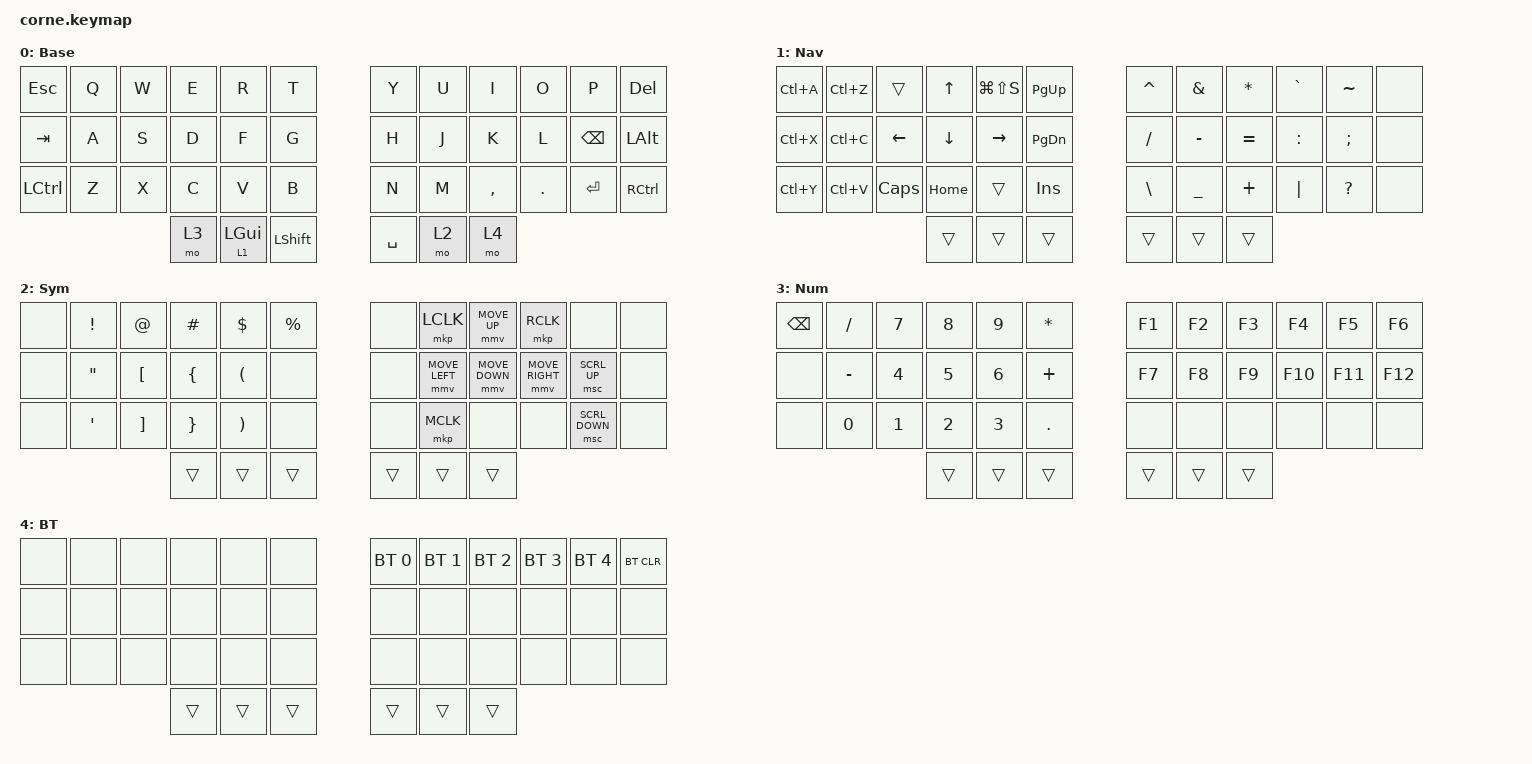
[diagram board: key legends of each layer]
/*
 * Copyright (c) 2020 The ZMK Contributors
 *
 * SPDX-License-Identifier: MIT
 */

#include <behaviors.dtsi>
#include <dt-bindings/zmk/keys.h>
#include <dt-bindings/zmk/bt.h>
#include <dt-bindings/zmk/pointing.h>

/ {
    keymap {
        compatible = "zmk,keymap";

        default_layer {
// -----------------------------------------------------------------------------------------
// | ESC  |  Q  |  W  |  E  |  R  |  T  |   |  Y  |  U  |  I  |  O  | P    | DEL  |
// | TAB  |  A  |  S  |  D  |  F  |  G  |   |  H  |  J  |  K  |  L  | BSPC | ALT  |
// | CTRL |  Z  |  X  |  C  |  V  |  B  |   |  N  |  M  |  ,  |  .  | RET  | CTRL |
//                    | L3 | L1/GUI | SHFT |   | SPC | L2 | L4 |
            display-name = "Base";
            bindings = <
   &kp ESC   &kp Q &kp W &kp E &kp R &kp T          &kp Y     &kp U &kp I     &kp O   &kp P    &kp DEL
   &kp TAB   &kp A &kp S &kp D &kp F &kp G          &kp H     &kp J &kp K     &kp L   &kp BSPC &kp LALT
   &kp LCTRL &kp Z &kp X &kp C &kp V &kp B          &kp N     &kp M &kp COMMA &kp DOT &kp RET  &kp RCTRL
                   &mo 3 &lt 1 LGUI &kp LSHFT       &kp SPACE &mo 2 &mo 4
            >;
        };

        nav_layer {
// | SEL ALL | UNDO |      |  UP  | SNIP | PGUP |   |  ^  |  &  |  *  |  `  |  ~  |     |
// | CUT     | COPY | LEFT | DOWN | RGHT | PGDN |   |  /  |  -  |  =  |  :  |  ;  |     |
// | REDO    | PSTE | CAPS | HOME |      | INS  |   |  \  |  _  |  +  | "|" |  ?  |     |
            display-name = "Nav";
            bindings = <
   &kp LC(A) &kp LC(Z) &trans         &kp UP_ARROW &kp LG(LS(S)) &kp PG_UP    &kp CARET &kp AMPS  &kp ASTRK &kp GRAVE &kp TILDE &none
   &kp LC(X) &kp LC(C) &kp LEFT_ARROW &kp DOWN     &kp RIGHT     &kp PG_DN    &kp FSLH  &kp MINUS &kp EQUAL &kp COLON &kp SEMI  &none
   &kp LC(Y) &kp LC(V) &kp CAPS       &kp HOME     &trans        &kp INS      &kp BSLH  &kp UNDER &kp PLUS  &kp PIPE  &kp QMARK &none
                                      &trans       &trans        &trans       &trans    &trans    &trans
            >;
        };

        sym_layer {
// |   |  !  |  @  |  #  |  $  |  %  |   |      | LCLK |  UP  | RCLK |      |      |
// |   |  "  |  [  |  {  |  (  |     |   |      | LEFT | DOWN | RGHT | SCRLU|      |
// |   |  '  |  ]  |  }  |  )  |     |   |      | MCLK |      |      | SCRLD|      |
            display-name = "Sym";
            bindings = <
   &none &kp EXCL &kp AT   &kp HASH &kp DLLR &kp PRCNT     &none &mkp LCLK      &mmv MOVE_UP   &mkp RCLK       &none          &none
   &none &kp DQT  &kp LBKT &kp LBRC &kp LPAR &none         &none &mmv MOVE_LEFT &mmv MOVE_DOWN &mmv MOVE_RIGHT &msc SCRL_UP   &none
   &none &kp SQT  &kp RBKT &kp RBRC &kp RPAR &none         &none &mkp MCLK      &none          &none           &msc SCRL_DOWN &none
                           &trans   &trans   &trans        &trans &trans        &trans
            >;
        };

        num_layer {
// | BSPC  |  /  |  7  |  8  |  9  |  *  |   | F1 | F2 | F3 | F4  | F5  | F6  |
// |       |  -  |  4  |  5  |  6  |  +  |   | F7 | F8 | F9 | F10 | F11 | F12 |
// |       |  0  |  1  |  2  |  3  |  .  |   |    |    |    |     |     |     |
            display-name = "Num";
            bindings = <
   &kp BSPC &kp FSLH  &kp N7 &kp N8 &kp N9 &kp STAR     &kp F1 &kp F2 &kp F3 &kp F4  &kp F5  &kp F6
   &none &kp MINUS &kp N4 &kp N5 &kp N6 &kp PLUS     &kp F7 &kp F8 &kp F9 &kp F10 &kp F11 &kp F12
   &none &kp N0    &kp N1 &kp N2 &kp N3 &kp DOT      &none  &none  &none  &none   &none   &none
                          &trans &trans &trans       &trans &trans &trans
            >;
        };

        bt_layer {
// |     |     |     |     |     |     |   | BT1 | BT2 | BT3 | BT4 | BT5 | CLR |
// |     |     |     |     |     |     |   |     |     |     |     |     |     |
// |     |     |     |     |     |     |   |     |     |     |     |     |     |
            display-name = "BT";
            bindings = <
   &none        &none        &none        &none        &none        &none	  &bt BT_SEL 0 &bt BT_SEL 1 &bt BT_SEL 2 &bt BT_SEL 3 &bt BT_SEL 4 &bt BT_CLR
   &none        &none        &none        &none        &none        &none         &none        &none        &none        &none        &none        &none
   &none        &none        &none        &none        &none        &none         &none        &none        &none        &none        &none        &none
                                          &trans       &trans       &trans        &trans       &trans       &trans
            >;
        };
    };
};
